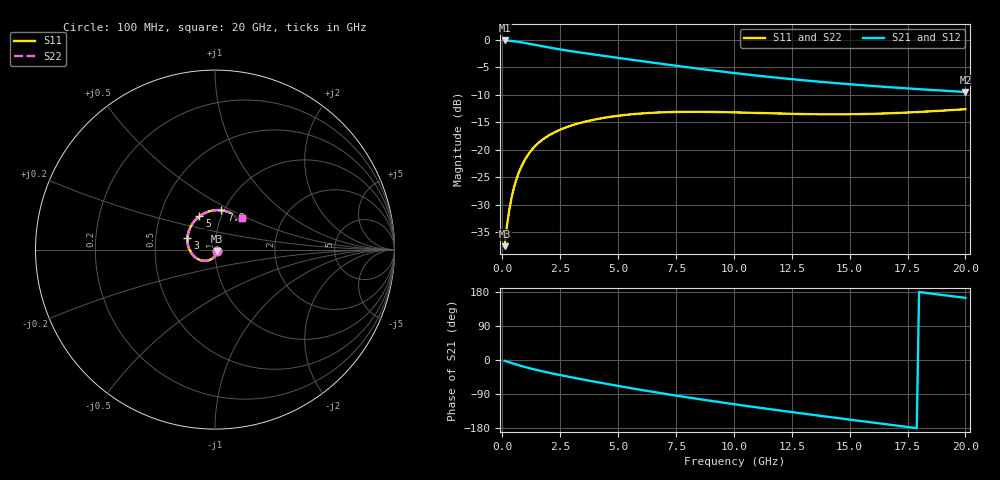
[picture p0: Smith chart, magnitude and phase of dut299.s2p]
! Touchstone file exported from HFSS 2023.1.0
!  File:  D:/Users/fzz/RDL_TSV/temp_RDL_TSV_299_1778764227.aedt
!  Generated:  9:16:46 %x4E0B%x5348  5%x6708 14, 2026
!  Design:  RDL_TSV
!  Project:  temp_RDL_TSV_299_1778764227
!  Setup:  Setup1
!  Solution:  Sweep
! Variables:
!  dtsv = 17.48um
!  hbump = 3um
!  htsv = 87.22um
!  ldown = 533.73um
!  lrdl = 197.1um
!  p = 40
!  p1 = 50.37um
!  rhole = 10um
!  subl = 2389.59um
!  t = 450um
!  tdown = 4.57um
!  trdl = 3.08um
!  viad = 10um
!  wdown = 22.54um
!  wrdl = 22.59um
!  xbump = 18um
# GHz S MA R 50.000000
! Terminal data exported
! Port[1] = TM1_1_T1
! Port[2] = TM1_4_T1
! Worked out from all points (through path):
!   200 points, 100 MHz to 20 GHz, reference 50 ohm
!   highest |S21| = -0.10 dB at 100 MHz (marker M1); lowest = -9.5 dB at 20 GHz (marker M2)
!   group delay of S21, straight-line fit = 25.6 ps
!   lowest |S11| = -37.5 dB at 100 MHz (marker M3), VSWR 1.03, Z = 51 - j0.956 ohm
!   |S11| at or under -10 dB: start of sweep to end of sweep
!   |S22| runs from -37.5 to -12.6 dB; largest |S21 - S12| = 4.2e-14
!   S11 on the Smith chart (normalised r, x): 100 MHz: 1.02, -0.02; 3 GHz: 0.73, +0.10; 5 GHz: 0.79, +0.30; 7.8 GHz: 0.97, +0.45; 20 GHz: 1.26, +0.48
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0.1  0.01336 -44.6  0.989 -2.1  0.989 -2.1  0.01336 -44.6
! Gamma 0 0 0 0
! Port Impedance 50 0 50 0
0.2  0.02033 -68.3  0.9864 -4.1  0.9864 -4.1  0.02033 -68.3
0.3  0.02845 -82.3  0.9828 -6.1  0.9828 -6.1  0.02846 -82.3
0.4  0.03686 -92.4  0.9782 -8.0  0.9782 -8.0  0.03687 -92.4
0.6  0.05342 -107.8  0.9666 -11.8  0.9666 -11.8  0.05343 -107.8
0.9  0.07622 -125.9  0.9445 -17.1  0.9445 -17.1  0.07622 -125.9
1.3  0.1019 -145.7  0.9112 -23.6  0.9112 -23.6  0.1019 -145.7
1.7  0.1225 -162.4  0.878 -29.4  0.878 -29.4  0.1225 -162.4
2.3  0.1463 176.5  0.8333 -37.3  0.8333 -37.3  0.1463 176.6
3  0.1672 156.4  0.789 -45.8  0.789 -45.8  0.1672 156.4
3.5  0.1792 144.1  0.761 -51.7  0.761 -51.7  0.1791 144.2
4.2  0.1927 129.3  0.7251 -59.6  0.7251 -59.6  0.1927 129.4
5  0.2046 115.1  0.687 -68.4  0.687 -68.4  0.2045 115.1
6.8  0.2194 90.6  0.6095 -87.0  0.6095 -87.0  0.2193 90.7
7.8  0.2221 80.6  0.5713 -96.7  0.5713 -96.7  0.222 80.6
8.9  0.2219 71.9  0.5336 -106.9  0.5336 -106.9  0.2218 71.9
10.1  0.2195 64.7  0.4976 -117.4  0.4976 -117.4  0.2194 64.6
11.7  0.2149 58.1  0.4572 -130.9  0.4572 -130.9  0.2149 58.0
13.4  0.2114 54.1  0.4224 -144.7  0.4224 -144.7  0.2113 54.0
15  0.2111 52.2  0.3956 -157.3  0.3956 -157.3  0.211 52.1
16.7  0.2153 51.3  0.3721 -170.5  0.3721 -170.5  0.2151 51.2
20  0.2348 49.5  0.3365 164.0  0.3365 164.0  0.2344 49.4
